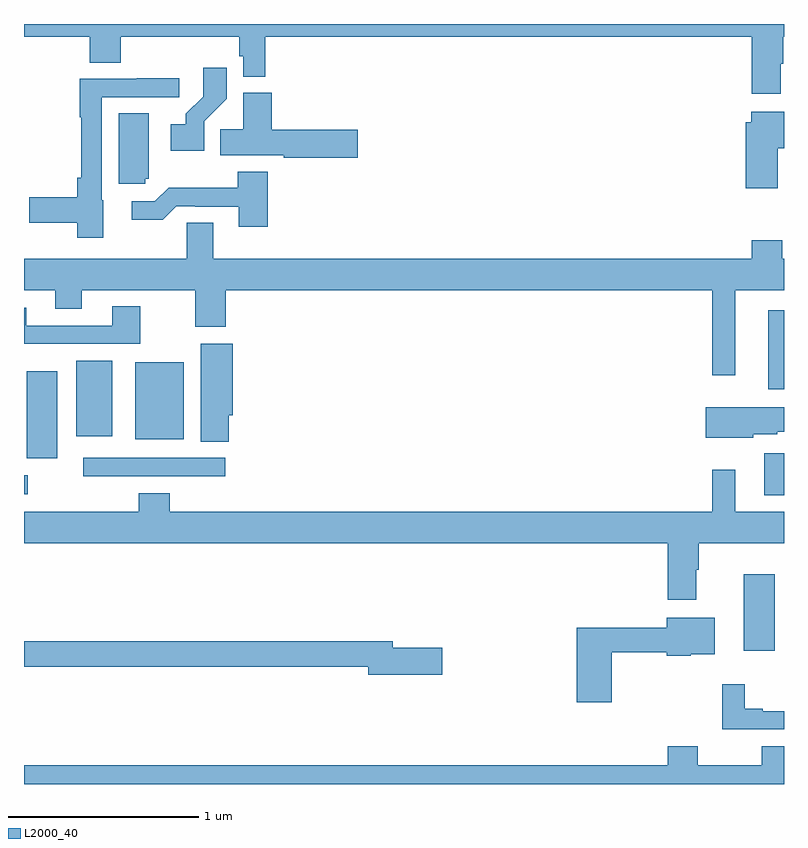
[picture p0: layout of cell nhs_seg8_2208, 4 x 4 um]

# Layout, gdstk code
import gdstk
lib = gdstk.Library(unit=1e-6, precision=1e-09)
def R(c, l, rs):  # rectangles x0, y0, x1, y1
    for r in rs: c.add(gdstk.rectangle(r[:2], r[2:], *l))
def P(c, l, *ps):  # polygons
    for p in ps: c.add(gdstk.Polygon(p, *l))
L2000_40 = (2000, 40)

nhs_seg8_2208 = lib.new_cell('nhs_seg8_2208')
R(nhs_seg8_2208, L2000_40, [(254.789,1114.602,254.95,1115.005), (254.897,1115.421,255,1115.64), (251,1115.424,251.02,1115.524), (251.313,1115.52,252.058,1115.616), (251.015,1115.615,251.176,1116.073), (251.585,1115.714,251.842,1116.121), (251.276,1115.729,251.464,1116.127), (254.918,1115.978,255,1116.394)])
P(nhs_seg8_2208, L2000_40, [(254.983,1117.691),(254.996,1117.691),(254.996,1117.832),(255,1117.832),(255,1117.9),(251,1117.9),(251,1117.832),(251.345,1117.832),(251.345,1117.696),(251.51,1117.696),(251.51,1117.832),(252.133,1117.832),(252.133,1117.731),(252.153,1117.731),(252.153,1117.622),(252.269,1117.622),(252.269,1117.832),(254.831,1117.832),(254.831,1117.533),(254.983,1117.533)],
  [(251.949,1117.387),(252.068,1117.506),(252.068,1117.669),(251.943,1117.669),(251.943,1117.517),(251.852,1117.427),(251.852,1117.372),(251.772,1117.372),(251.772,1117.232),(251.949,1117.232)],
  [(251.416,1116.972),(251.409,1116.972),(251.409,1117.515),(251.818,1117.515),(251.818,1117.614),(251.593,1117.614),(251.593,1117.611),(251.293,1117.611),(251.293,1117.408),(251.301,1117.408),(251.301,1117.09),(251.28,1117.09),(251.28,1116.989),(251.028,1116.989),(251.028,1116.854),(251.28,1116.854),(251.28,1116.776),(251.416,1116.776)],
  [(252.757,1117.343),(252.305,1117.343),(252.305,1117.537),(252.155,1117.537),(252.155,1117.346),(252.034,1117.346),(252.034,1117.208),(252.367,1117.208),(252.367,1117.196),(252.757,1117.196)],
  [(254.968,1117.247),(255,1117.247),(255,1117.438),(254.828,1117.438),(254.828,1117.383),(254.798,1117.383),(254.798,1117.035),(254.968,1117.035)],
  [(251.637,1117.086),(251.656,1117.086),(251.656,1117.43),(251.498,1117.43),(251.498,1117.059),(251.637,1117.059)],
  [(252.284,1117.123),(252.124,1117.123),(252.124,1117.039),(251.761,1117.039),(251.688,1116.966),(251.568,1116.966),(251.568,1116.869),(251.729,1116.869),(251.802,1116.942),(251.902,1116.942),(251.902,1116.939),(252.131,1116.939),(252.131,1116.834),(252.284,1116.834)],
  [(254.743,1116.5),(255,1116.5),(255,1116.664),(254.991,1116.664),(254.991,1116.763),(254.831,1116.763),(254.831,1116.664),(251.995,1116.664),(251.995,1116.854),(251.856,1116.854),(251.856,1116.664),(251,1116.664),(251,1116.5),(251.165,1116.5),(251.165,1116.401),(251.305,1116.401),(251.305,1116.5),(251.902,1116.5),(251.902,1116.306),(252.062,1116.306),(252.062,1116.5),(254.622,1116.5),(254.622,1116.051),(254.743,1116.051)],
  [(251.613,1116.415),(251.465,1116.415),(251.465,1116.312),(251.011,1116.312),(251.011,1116.406),(251,1116.406),(251,1116.216),(251.613,1116.216)],
  [(252.077,1115.841),(252.098,1115.841),(252.098,1116.217),(251.93,1116.217),(251.93,1115.701),(252.077,1115.701)],
  [(254.838,1115.741),(254.964,1115.741),(254.964,1115.755),(255,1115.755),(255,1115.884),(254.588,1115.884),(254.588,1115.723),(254.838,1115.723)],
  [(254.539,1115.027),(254.552,1115.027),(254.552,1115.168),(255,1115.168),(255,1115.332),(254.743,1115.332),(254.743,1115.554),(254.622,1115.554),(254.622,1115.332),(251.768,1115.332),(251.768,1115.431),(251.603,1115.431),(251.603,1115.332),(251,1115.332),(251,1115.168),(254.387,1115.168),(254.387,1114.869),(254.539,1114.869)],
  [(254.093,1114.594),(254.384,1114.594),(254.384,1114.576),(254.51,1114.576),(254.51,1114.583),(254.635,1114.583),(254.635,1114.774),(254.384,1114.774),(254.384,1114.723),(253.91,1114.723),(253.91,1114.329),(254.093,1114.329)],
  [(253.201,1114.616),(252.94,1114.616),(252.94,1114.652),(251,1114.652),(251,1114.516),(252.812,1114.516),(252.812,1114.474),(253.201,1114.474)],
  [(255,1114.284),(254.887,1114.284),(254.887,1114.297),(254.793,1114.297),(254.793,1114.426),(254.674,1114.426),(254.674,1114.188),(255,1114.188)],
  [(255,1114.099),(254.884,1114.099),(254.884,1114),(254.547,1114),(254.547,1114.099),(254.387,1114.099),(254.387,1114),(251,1114),(251,1113.9),(255,1113.9)])

lib.write_gds('nhs_seg8_2208.gds')
